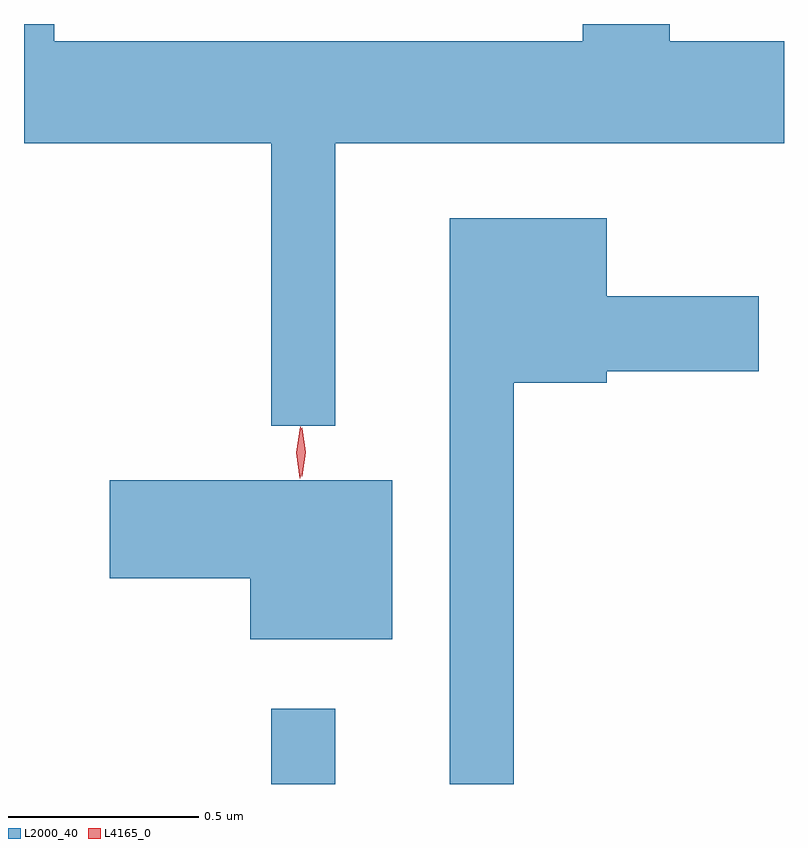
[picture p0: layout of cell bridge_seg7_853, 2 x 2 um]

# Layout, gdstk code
import gdstk
lib = gdstk.Library(unit=1e-6, precision=1e-09)
def R(c, l, rs):  # rectangles x0, y0, x1, y1
    for r in rs: c.add(gdstk.rectangle(r[:2], r[2:], *l))
def P(c, l, *ps):  # polygons
    for p in ps: c.add(gdstk.Polygon(p, *l))
L2000_40 = (2000, 40)
L4165_0 = (4165, 0)

bridge_seg7_853 = lib.new_cell('bridge_seg7_853')
R(bridge_seg7_853, L2000_40, [(209.801,1765.91,209.969,1766.108)])
P(bridge_seg7_853, L2000_40, [(209.969,1767.596),(211.15,1767.596),(211.15,1767.864),(210.849,1767.864),(210.849,1767.91),(210.621,1767.91),(210.621,1767.864),(209.229,1767.864),(209.229,1767.91),(209.15,1767.91),(209.15,1767.596),(209.801,1767.596),(209.801,1766.853),(209.969,1766.853)],
  [(210.439,1766.966),(210.684,1766.966),(210.684,1766.996),(211.084,1766.996),(211.084,1767.194),(210.684,1767.194),(210.684,1767.399),(210.271,1767.399),(210.271,1765.91),(210.439,1765.91)],
  [(210.119,1766.709),(209.376,1766.709),(209.376,1766.451),(209.746,1766.451),(209.746,1766.291),(210.119,1766.291)])
P(bridge_seg7_853, L4165_0, [(209.876,1766.714),(209.876,1766.714),(209.867,1766.782),(209.877,1766.85),(209.878,1766.85),(209.878,1766.85),(209.887,1766.782),(209.877,1766.714)],
  [(209.881,1766.72),(209.871,1766.783),(209.881,1766.846),(209.882,1766.847),(209.882,1766.846),(209.891,1766.783),(209.882,1766.72),(209.882,1766.72)])

lib.write_gds('bridge_seg7_853.gds')
